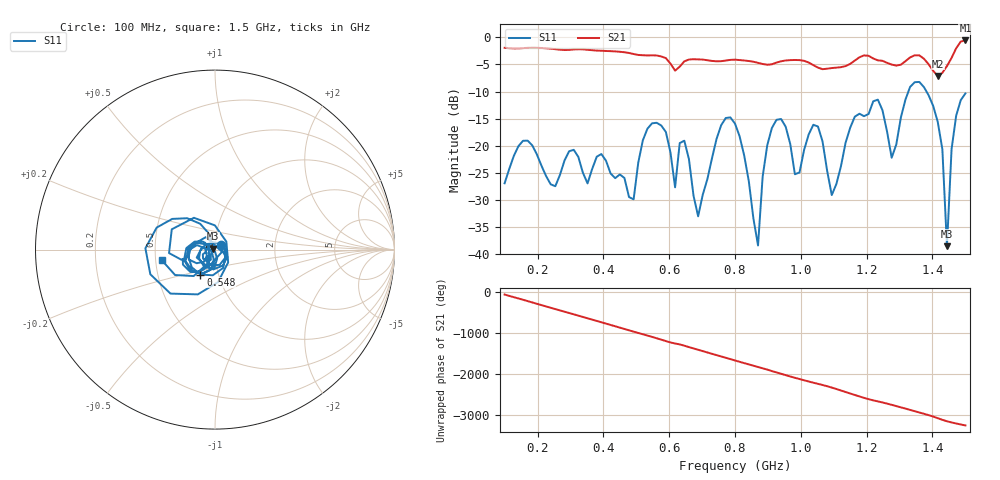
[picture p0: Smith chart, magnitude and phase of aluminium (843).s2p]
! NanoVNA-App
! Date: 2025-09-25 15:01:51
! Start: 100MHz Stop: 1,5GHz Points: 101
! S-Parameter data: F S11 S21 S12 S22
# Hz S RI R 50
!  Frequency  S11_Real  S11_Imag  S21_Real  S21_Imag  S12_Real  S12_Imag  S22_Real  S22_Imag
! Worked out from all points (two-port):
!   101 points, 100 MHz to 1.5 GHz, reference 50 ohm
!   highest |S21| = -0.56 dB at 1.5 GHz (marker M1); lowest = -7.1 dB at 1.416 GHz (marker M2)
!   |S21| within 3 dB of the highest: start of sweep to 578.1 MHz; 1.46 GHz to end of sweep (the widest 2 of 4)
!   lowest |S11| = -38.6 dB at 1.444 GHz (marker M3), VSWR 1.02, Z = 49 + j0.533 ohm
!   |S11| at or under -10 dB: start of sweep to 1.327 GHz; 1.382 GHz to end of sweep
!   S12 and S22 are empty: the file has one direction only
!   S11 on the Smith chart (normalised r, x): 100 MHz: 1.07, +0.06; 548 MHz: 0.82, -0.23; 1.5 GHz: 0.54, -0.07
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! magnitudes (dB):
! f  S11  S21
! 100 MHz  -27.0  -1.9
! 156 MHz  -19.1  -2.0
! 338 MHz  -25.0  -2.2
! 492 MHz  -29.9  -3.1
! 548 MHz  -15.9  -3.3
! 576 MHz  -16.3  -3.5
! 618 MHz  -27.7  -6.1
! 646 MHz  -19.1  -4.4
! 688 MHz  -33.1  -4.1
! 800 MHz  -15.9  -4.1
! 870 MHz  -38.5  -4.7
! 912 MHz  -16.8  -5.0
! 982 MHz  -25.3  -4.2
! 1.038 GHz  -16.1  -5.1
! 1.094 GHz  -29.1  -5.7
! 1.22 GHz  -11.8  -3.9
! 1.276 GHz  -22.2  -5.0
! 1.346 GHz  -8.3  -3.3
! 1.416 GHz  -15.6  -7.1
! 1.444 GHz  -38.6  -5.3
! 1.458 GHz  -20.6  -3.8
! 1.5 GHz  -10.4  -0.6
